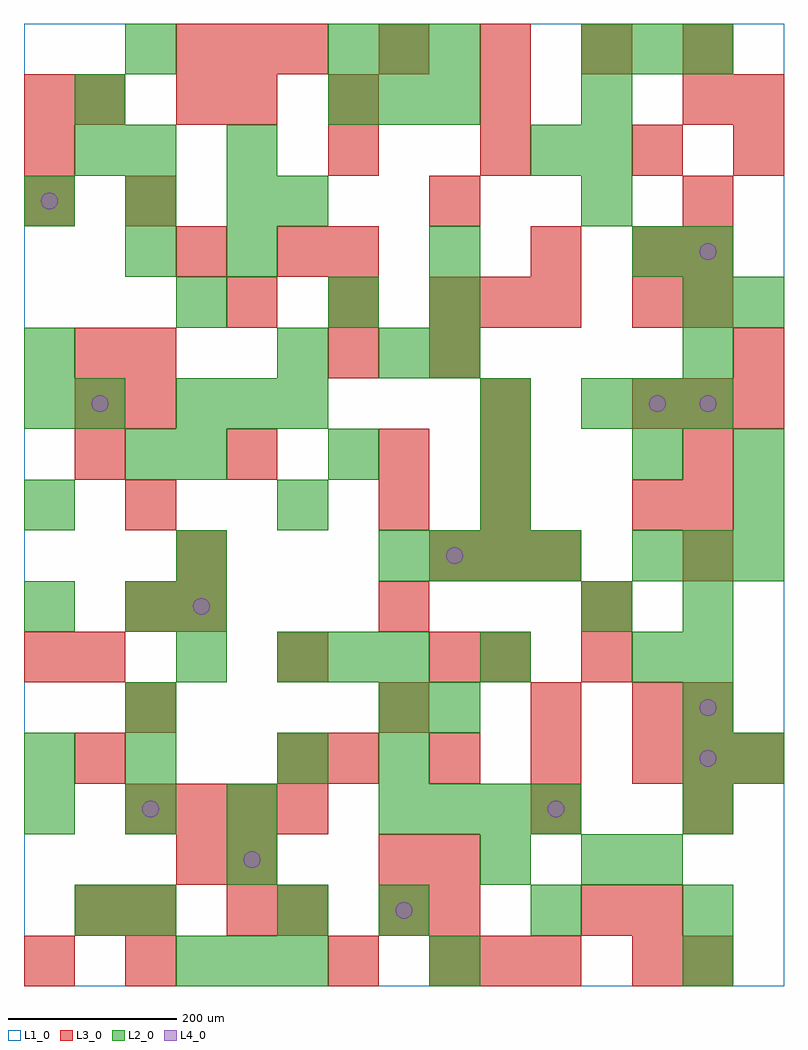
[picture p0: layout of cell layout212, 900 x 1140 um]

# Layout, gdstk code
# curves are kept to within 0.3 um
import gdstk
lib = gdstk.Library(unit=1e-6, precision=1e-09)
def R(c, l, rs):  # rectangles x0, y0, x1, y1
    for r in rs: c.add(gdstk.rectangle(r[:2], r[2:], *l))
def A(c, l, x, y, w, h, nx, ny, dx, dy):  # array of equal rectangles
    R(c, l, [(x+i*dx, y+j*dy, x+i*dx+w, y+j*dy+h) for i in range(nx) for j in range(ny)])
def P(c, l, *ps):  # polygons
    for p in ps: c.add(gdstk.Polygon(p, *l))
L1_0 = (1, 0)
L2_0 = (2, 0)
L3_0 = (3, 0)
L4_0 = (4, 0)

layout212 = lib.new_cell('layout212')
R(layout212, L1_0, [(0,0,900,1140)])
A(layout212, L2_0, 180, 0, 60, 60, 3, 2, 60, 660)
A(layout212, L2_0, 420, 60, 60, 60, 3, 1, 180, 0)
A(layout212, L2_0, 0, 180, 60, 60, 3, 2, 120, 720)
A(layout212, L2_0, 420, 180, 60, 60, 4, 2, 60, 300)
A(layout212, L2_0, 780, 180, 60, 60, 1, 5, 0, 60)
A(layout212, L2_0, 180, 360, 60, 60, 1, 3, 0, 60)
A(layout212, L2_0, 300, 360, 60, 60, 3, 1, 60, 0)
A(layout212, L2_0, 0, 420, 60, 60, 1, 3, 0, 120)
A(layout212, L2_0, 720, 480, 60, 60, 3, 1, 60, 0)
A(layout212, L2_0, 300, 540, 60, 60, 1, 3, 0, 180)
A(layout212, L2_0, 180, 600, 60, 60, 4, 1, 180, 0)
A(layout212, L2_0, 660, 660, 60, 60, 3, 2, 60, 420)
A(layout212, L2_0, 780, 720, 60, 60, 1, 3, 0, 60)
A(layout212, L2_0, 120, 840, 60, 60, 1, 3, 0, 120)
A(layout212, L2_0, 240, 840, 60, 60, 3, 1, 240, 0)
A(layout212, L2_0, 660, 900, 60, 60, 1, 3, 0, 60)
A(layout212, L2_0, 360, 1020, 60, 60, 3, 2, 60, 60)
R(layout212, L2_0, [(480,0,540,60), (780,0,840,60), (60,60,120,120), (120,60,180,120), (300,60,360,120), (240,120,300,180), (540,120,600,180), (660,120,720,180), (720,120,780,180), (0,240,60,300), (120,240,180,300), (300,240,360,300), (420,240,480,300), (840,240,900,300), (120,300,180,360), (420,300,480,360), (480,300,540,360), (540,360,600,420), (720,360,780,420), (120,420,180,480), (660,420,720,480), (540,540,600,600), (840,540,900,600), (120,600,180,660), (840,600,900,660), (60,660,120,720), (540,660,600,720), (0,720,60,780), (420,720,480,780), (480,720,540,780), (180,780,240,840), (360,780,420,840), (480,780,540,840), (840,780,900,840), (60,960,120,1020), (240,960,300,1020), (600,960,660,1020), (60,1020,120,1080)])
A(layout212, L3_0, 480, 0, 60, 60, 3, 2, 60, 480)
A(layout212, L3_0, 720, 60, 60, 60, 1, 4, 0, 240)
A(layout212, L3_0, 180, 120, 60, 60, 1, 3, 0, 360)
A(layout212, L3_0, 120, 180, 60, 60, 4, 1, 60, 0)
A(layout212, L3_0, 780, 180, 60, 60, 1, 3, 0, 60)
A(layout212, L3_0, 360, 240, 60, 60, 4, 1, 120, 0)
A(layout212, L3_0, 120, 300, 60, 60, 1, 4, 0, 120)
A(layout212, L3_0, 180, 420, 60, 60, 3, 1, 240, 0)
A(layout212, L3_0, 780, 480, 60, 60, 1, 3, 0, 60)
A(layout212, L3_0, 540, 540, 60, 60, 1, 3, 0, 60)
A(layout212, L3_0, 60, 600, 60, 60, 3, 1, 180, 0)
A(layout212, L3_0, 720, 660, 60, 60, 3, 1, 60, 0)
A(layout212, L3_0, 240, 780, 60, 60, 3, 1, 120, 0)
A(layout212, L3_0, 780, 780, 60, 60, 1, 3, 0, 60)
A(layout212, L3_0, 0, 900, 60, 60, 1, 3, 0, 60)
A(layout212, L3_0, 360, 960, 60, 60, 3, 1, 180, 0)
A(layout212, L3_0, 180, 1080, 60, 60, 3, 1, 60, 0)
A(layout212, L3_0, 420, 1080, 60, 60, 4, 1, 120, 0)
R(layout212, L3_0, [(0,0,60,60), (120,0,180,60), (360,0,420,60), (720,0,780,60), (780,0,840,60), (60,60,120,120), (120,60,180,120), (240,60,300,120), (300,60,360,120), (420,60,480,120), (480,60,540,120), (660,60,720,120), (240,120,300,180), (420,120,480,180), (480,120,540,180), (600,180,660,240), (60,240,120,300), (300,240,360,300), (840,240,900,300), (420,300,480,360), (600,300,660,360), (0,360,60,420), (60,360,120,420), (300,360,360,420), (480,360,540,420), (540,360,600,420), (660,360,720,420), (420,540,480,600), (60,660,120,720), (60,720,120,780), (120,720,180,780), (360,720,420,780), (480,720,540,780), (840,720,900,780), (540,780,600,840), (600,780,660,840), (300,840,360,900), (360,840,420,900), (600,840,660,900), (720,840,780,900), (120,900,180,960), (480,900,540,960), (840,960,900,1020), (60,1020,120,1080), (180,1020,240,1080), (240,1020,300,1080), (360,1020,420,1080), (540,1020,600,1080), (780,1020,840,1080), (840,1020,900,1080)])
P(layout212, L4_0, [(40,930),(39.239,933.827),(37.071,937.071),(33.827,939.239),(30,940),(26.173,939.239),(22.929,937.071),(20.761,933.827),(20,930),(20.761,926.173),(22.929,922.929),(26.173,920.761),(30,920),(33.827,920.761),(37.071,922.929),(39.239,926.173)],
  [(100,690),(99.239,693.827),(97.071,697.071),(93.827,699.239),(90,700),(86.173,699.239),(82.929,697.071),(80.761,693.827),(80,690),(80.761,686.173),(82.929,682.929),(86.173,680.761),(90,680),(93.827,680.761),(97.071,682.929),(99.239,686.173)],
  [(160,210),(159.239,213.827),(157.071,217.071),(153.827,219.239),(150,220),(146.173,219.239),(142.929,217.071),(140.761,213.827),(140,210),(140.761,206.173),(142.929,202.929),(146.173,200.761),(150,200),(153.827,200.761),(157.071,202.929),(159.239,206.173)],
  [(220,450),(219.239,453.827),(217.071,457.071),(213.827,459.239),(210,460),(206.173,459.239),(202.929,457.071),(200.761,453.827),(200,450),(200.761,446.173),(202.929,442.929),(206.173,440.761),(210,440),(213.827,440.761),(217.071,442.929),(219.239,446.173)],
  [(280,150),(279.239,153.827),(277.071,157.071),(273.827,159.239),(270,160),(266.173,159.239),(262.929,157.071),(260.761,153.827),(260,150),(260.761,146.173),(262.929,142.929),(266.173,140.761),(270,140),(273.827,140.761),(277.071,142.929),(279.239,146.173)],
  [(460,90),(459.239,93.827),(457.071,97.071),(453.827,99.239),(450,100),(446.173,99.239),(442.929,97.071),(440.761,93.827),(440,90),(440.761,86.173),(442.929,82.929),(446.173,80.761),(450,80),(453.827,80.761),(457.071,82.929),(459.239,86.173)],
  [(520,510),(519.239,513.827),(517.071,517.071),(513.827,519.239),(510,520),(506.173,519.239),(502.929,517.071),(500.761,513.827),(500,510),(500.761,506.173),(502.929,502.929),(506.173,500.761),(510,500),(513.827,500.761),(517.071,502.929),(519.239,506.173)],
  [(640,210),(639.239,213.827),(637.071,217.071),(633.827,219.239),(630,220),(626.173,219.239),(622.929,217.071),(620.761,213.827),(620,210),(620.761,206.173),(622.929,202.929),(626.173,200.761),(630,200),(633.827,200.761),(637.071,202.929),(639.239,206.173)],
  [(760,690),(759.239,693.827),(757.071,697.071),(753.827,699.239),(750,700),(746.173,699.239),(742.929,697.071),(740.761,693.827),(740,690),(740.761,686.173),(742.929,682.929),(746.173,680.761),(750,680),(753.827,680.761),(757.071,682.929),(759.239,686.173)],
  [(820,270),(819.239,273.827),(817.071,277.071),(813.827,279.239),(810,280),(806.173,279.239),(802.929,277.071),(800.761,273.827),(800,270),(800.761,266.173),(802.929,262.929),(806.173,260.761),(810,260),(813.827,260.761),(817.071,262.929),(819.239,266.173)],
  [(820,330),(819.239,333.827),(817.071,337.071),(813.827,339.239),(810,340),(806.173,339.239),(802.929,337.071),(800.761,333.827),(800,330),(800.761,326.173),(802.929,322.929),(806.173,320.761),(810,320),(813.827,320.761),(817.071,322.929),(819.239,326.173)],
  [(820,690),(819.239,693.827),(817.071,697.071),(813.827,699.239),(810,700),(806.173,699.239),(802.929,697.071),(800.761,693.827),(800,690),(800.761,686.173),(802.929,682.929),(806.173,680.761),(810,680),(813.827,680.761),(817.071,682.929),(819.239,686.173)],
  [(820,870),(819.239,873.827),(817.071,877.071),(813.827,879.239),(810,880),(806.173,879.239),(802.929,877.071),(800.761,873.827),(800,870),(800.761,866.173),(802.929,862.929),(806.173,860.761),(810,860),(813.827,860.761),(817.071,862.929),(819.239,866.173)])

lib.write_gds('layout212.gds')
